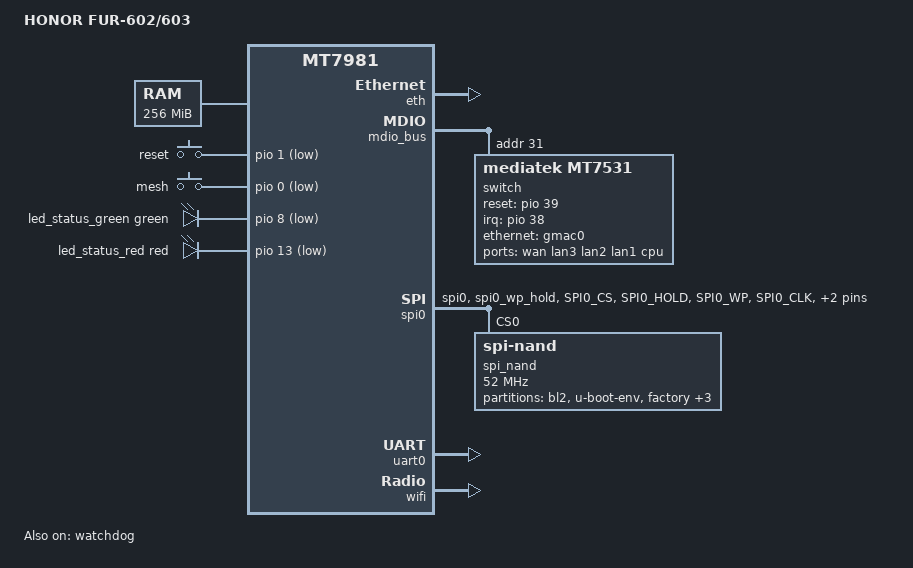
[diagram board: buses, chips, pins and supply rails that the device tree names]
// SPDX-License-Identifier: GPL-2.0-or-later OR MIT
//
// HONOR FUR-602 / FUR-603  (a.k.a. 荣耀 XU50 / XT50 / XC50, 联通定制版)
//   SoC   : MediaTek MT7981B (Filogic 820)
//   RAM   : 256 MiB DDR3
//   Flash : 128 MiB SPI-NAND, NMBM enabled
//   WLAN  : MT7981 2.4G 2x2 + MT7976CN 5G 2x2  = AX3000
//   ETH   : MT7531 switch, 1x 1G WAN + 3x 1G LAN, all behind gmac0
//
// ---------------------------------------------------------------------------
//  ImmortalWrt 25.12.2 variant (kernel 6.12)
// ---------------------------------------------------------------------------
//  Baseline: immortalwrt/immortalwrt @ 4fc16f2985a358bd43bb522e43f05395fcbd6ed5
//            (git tag v25.12.2, annotated + PGP-signed)
//            target/linux/mediatek, subtarget filogic, KERNEL_PATCHVER 6.12
//
//  This file is the 25.12 counterpart of mt7981b-honor-fur-602.dts (the 24.10 /
//  kernel-6.6 file).  Both live in the repository side by side so the 24.10
//  workflow keeps working untouched.  Inside a build tree only ONE of them is
//  ever installed, under the name given by DEVICE_DTS.
//
//  Differences from the 24.10 file -- ONLY these three, each forced by an
//  upstream change that was verified in the locked tree:
//
//   1. #include "mt7981b.dtsi" instead of "mt7981.dtsi".
//      Upstream Linux renamed the MT7981 SoC include when the SoC gained its
//      "b" suffix; kernel 6.12 ships arch/arm64/boot/dts/mediatek/mt7981b.dtsi
//      and no longer provides mt7981.dtsi.  Every MT7981 device in the 25.12
//      tree (h3c-magic-nx30-pro, nokia-ea0326gmp, jcg-q30-pro, cmcc-rax3000m,
//      mt7981-rfb, ...) includes "mt7981b.dtsi".  Without this change the DTB
//      does not compile at all.
//
//   2. <dt-bindings/pinctrl/mt65xx.h> is included explicitly.
//      MTK_DRIVE_8mA / MTK_PUPD_SET_R1R0_11 are used by the SPI pinconf below.
//      The 5.4-era immortalwrt mt7981.dtsi pulled that header in for us; the
//      mainline mt7981b.dtsi does not, so the 25.12 device trees that use these
//      macros include it themselves (cf. mt7981b-h3c-magic-nx30-pro.dts).
//
//   3. The memory node is written as memory@40000000 with an explicit
//      device_type = "memory", matching every MT7981 device tree in 25.12 and
//      avoiding a dtc unit-address warning.
//
//  Everything else -- partition layout, NMBM, SPI calibration, factory/MAC
//  offsets, DSA port mapping, GPIOs, LEDs, WiFi EEPROM -- is byte-for-byte the
//  already-verified 24.10 design and is intentionally NOT touched.
//
//  Boot chain: unchanged.  See the long comment in the 24.10 DTS and
//  MIGRATION-REPORT.md: the bl-mt798x U-Boot boots the FIT out of the UBI
//  volume named "kernel" (KERNEL_IN_UBI=1), and 25.12's platform.sh still
//  routes an unlisted board through the generic `nand_do_upgrade "$1"`
//  fallback with nand.sh's default CI_KERNPART=kernel / CI_ROOTPART=rootfs.
//  We therefore deliberately do NOT adopt the newer `linux,ubi` +
//  volname="fit" + root=/dev/fit0 layout used by h3c/nokia/jcg in 25.12:
//  that requires fitblk support in U-Boot which this board's U-Boot lacks.
//
// Hardware facts are taken from, and cross-checked against:
//   1. hanwckf/bl-mt798x @ 20241115  (tag, commit 15ad0ed949043bcb)
//        uboot-mtk-20230718-09eda825/arch/arm/dts/mt7981-honor_fur-602.dts
//          -> gpio 0/1 (keys), gpio 8/13 (LEDs), gpio 39 (switch reset),
//             gmac0 = 2500base-x / 2500 Mbps, "mediatek,switch = mt7531"
//        uboot-mtk-20230718-09eda825/configs/mt7981_honor_fur-602{,_multi_layout}_defconfig
//          -> 128 MiB SPI-NAND, NMBM
//        uboot-mtk-20230718-09eda825/board/mediatek/common/mtd_layout.c
//          -> mtd-layout expand(114m): bl2|u-boot-env|factory|Trace|fip|ubi(116736k)
//   2. hanwckf/immortalwrt-mt798x @ openwrt-21.02
//        target/linux/mediatek/files-5.4/arch/arm64/boot/dts/mediatek/mt7981-honor-fur-602.dts
//          -> authoritative port wiring, NMBM overlay, SPI calibration data,
//             same make/model string "HONOR FUR-602/603"
//        target/linux/mediatek/image/mt7981.mk (Device/honor_fur-602)
//          -> IMAGE_SIZE 116736k, KERNEL_IN_UBI, factory.bin + sysupgrade-tar
//   3. NMBM support in the 25.12 baseline, confirmed at the locked SHA:
//        target/linux/generic/files/drivers/mtd/nand/mtk_bmt.c
//          -> mtk_bmt_attach(): `else if (of_property_read_bool(np, "mediatek,nmbm"))
//             bmtd.ops = &mtk_bmt_nmbm_ops;`
//        target/linux/mediatek/filogic/config-6.12
//          -> CONFIG_MTD_NAND_MTK_BMT=y
//
// Requires the hanwckf/bl-mt798x "mt7981_honor_fur-602" U-Boot (20241115 or
// the 20230718 build it is derived from) with the expand(114m) mtd layout.
// The stock HONOR U-Boot is signature-locked and cannot boot this firmware.

/dts-v1/;
#include <dt-bindings/gpio/gpio.h>
#include <dt-bindings/input/input.h>
#include <dt-bindings/leds/common.h>
#include <dt-bindings/pinctrl/mt65xx.h>

#include "mt7981b.dtsi"

/ {
	model = "HONOR FUR-602/603";
	compatible = "honor,fur-602", "mediatek,mt7981";

	aliases {
		serial0 = &uart0;
		label-mac-device = &gmac0;
		led-boot = &led_status_red;
		led-failsafe = &led_status_red;
		led-running = &led_status_green;
		led-upgrade = &led_status_green;
	};

	chosen {
		stdout-path = "serial0:115200n8";
	};

	memory@40000000 {
		device_type = "memory";
		reg = <0 0x40000000 0 0x10000000>;
	};

	gpio-keys {
		compatible = "gpio-keys";

		button-reset {
			label = "reset";
			linux,code = <KEY_RESTART>;
			gpios = <&pio 1 GPIO_ACTIVE_LOW>;
		};

		button-mesh {
			label = "mesh";
			linux,code = <BTN_9>;
			linux,input-type = <EV_SW>;
			gpios = <&pio 0 GPIO_ACTIVE_LOW>;
		};
	};

	leds {
		compatible = "gpio-leds";

		led_status_green: green {
			function = LED_FUNCTION_STATUS;
			color = <LED_COLOR_ID_GREEN>;
			gpios = <&pio 8 GPIO_ACTIVE_LOW>;
		};

		led_status_red: red {
			function = LED_FUNCTION_STATUS;
			color = <LED_COLOR_ID_RED>;
			gpios = <&pio 13 GPIO_ACTIVE_LOW>;
		};
	};
};

&eth {
	status = "okay";

	gmac0: mac@0 {
		compatible = "mediatek,eth-mac";
		reg = <0>;
		phy-mode = "2500base-x";

		nvmem-cells = <&macaddr_factory_2a>;
		nvmem-cell-names = "mac-address";

		fixed-link {
			speed = <2500>;
			full-duplex;
			pause;
		};
	};
};

&mdio_bus {
	switch: switch@1f {
		compatible = "mediatek,mt7531";
		reg = <31>;
		reset-gpios = <&pio 39 GPIO_ACTIVE_HIGH>;
		interrupt-controller;
		#interrupt-cells = <1>;
		interrupt-parent = <&pio>;
		interrupts = <38 IRQ_TYPE_LEVEL_HIGH>;
	};
};

&spi0 {
	pinctrl-names = "default";
	pinctrl-0 = <&spi0_flash_pins>;
	status = "okay";

	spi_nand: spi_nand@0 {
		compatible = "spi-nand";
		#address-cells = <1>;
		#size-cells = <1>;
		reg = <0>;

		spi-max-frequency = <52000000>;
		spi-tx-bus-width = <4>;
		spi-rx-bus-width = <4>;

		/*
		 * NMBM: matches CONFIG_ENABLE_NAND_NMBM=y in the bl-mt798x
		 * mt7981_honor_fur-602 U-Boot, which maps the whole chip through
		 * its own bad-block table. The BMT area is carved out of the
		 * top of the device, so the partitions below are the *free*
		 * area and must stay in sync with the U-Boot mtd-layout
		 * "expand(114m)" mtdparts string.
		 *
		 * Verified still supported on the 25.12 baseline: mtk_bmt.c
		 * (target/linux/generic/files/drivers/mtd/nand/) handles
		 * "mediatek,nmbm" -> mtk_bmt_nmbm_ops, and filogic/config-6.12
		 * carries CONFIG_MTD_NAND_MTK_BMT=y.
		 */
		mediatek,nmbm;
		mediatek,bmt-max-ratio = <1>;
		mediatek,bmt-max-reserved-blocks = <64>;

		/*
		 * SPI calibration data, taken verbatim from the hanwckf
		 * reference DTS for this board. Without it the SPI-NAND
		 * controller may sample at the wrong delay on this PCB.
		 */
		spi-cal-enable;
		spi-cal-mode = "read-data";
		spi-cal-datalen = <7>;
		spi-cal-data = /bits/ 8 <0x53 0x50 0x49 0x4E 0x41 0x4E 0x44>; /* 'SPINAND' */
		spi-cal-addrlen = <5>;
		spi-cal-addr = /bits/ 32 <0x0 0x0 0x0 0x0 0x0>;

		partitions {
			compatible = "fixed-partitions";
			#address-cells = <1>;
			#size-cells = <1>;

			partition@0 {
				label = "bl2";
				reg = <0x0000000 0x0100000>;
				read-only;
			};

			partition@100000 {
				label = "u-boot-env";
				reg = <0x0100000 0x0080000>;
			};

			factory: partition@180000 {
				label = "factory";
				reg = <0x0180000 0x01e0000>;
				read-only;

				nvmem-layout {
					compatible = "fixed-layout";
					#address-cells = <1>;
					#size-cells = <1>;

					macaddr_factory_24: macaddr@24 {
						reg = <0x24 0x6>;
					};

					macaddr_factory_2a: macaddr@2a {
						reg = <0x2a 0x6>;
					};
				};
			};

			partition@360000 {
				label = "trace";
				reg = <0x0360000 0x0020000>;
				read-only;
			};

			partition@380000 {
				label = "fip";
				reg = <0x0380000 0x0200000>;
				read-only;
			};

			partition@580000 {
				label = "ubi";
				reg = <0x0580000 0x7200000>;
			};
		};
	};
};

&switch {
	ports {
		#address-cells = <1>;
		#size-cells = <0>;

		port@0 {
			reg = <0>;
			label = "wan";
			nvmem-cells = <&macaddr_factory_24>;
			nvmem-cell-names = "mac-address";
		};

		port@1 {
			reg = <1>;
			label = "lan3";
		};

		port@2 {
			reg = <2>;
			label = "lan2";
		};

		port@3 {
			reg = <3>;
			label = "lan1";
		};

		port@6 {
			reg = <6>;
			label = "cpu";
			ethernet = <&gmac0>;
			phy-mode = "2500base-x";

			fixed-link {
				speed = <2500>;
				full-duplex;
				pause;
			};
		};
	};
};

&pio {
	spi0_flash_pins: spi0-pins {
		mux {
			function = "spi";
			groups = "spi0", "spi0_wp_hold";
		};

		conf-pu {
			pins = "SPI0_CS", "SPI0_HOLD", "SPI0_WP";
			drive-strength = <MTK_DRIVE_8mA>;
			bias-pull-up = <MTK_PUPD_SET_R1R0_11>;
		};

		conf-pd {
			pins = "SPI0_CLK", "SPI0_MOSI", "SPI0_MISO";
			drive-strength = <MTK_DRIVE_8mA>;
			bias-pull-down = <MTK_PUPD_SET_R1R0_11>;
		};
	};
};

&uart0 {
	status = "okay";
};

&watchdog {
	status = "okay";
};

&wifi {
	status = "okay";

	/*
	 * WiFi EEPROM / calibration data lives at offset 0 of the "factory"
	 * partition. This is the de-facto MT7981 convention and matches the
	 * hanwckf reference board support (LEDE 5.4 used the same layout).
	 * `mediatek,mtd-eeprom` is still the supported binding on 6.12
	 * (cf. mt7981b-jcg-q30-pro.dts / mt7981b-h3c-magic-nx30-pro.dts in the
	 * 25.12 tree), so it is deliberately kept rather than converted to the
	 * nvmem-cells spelling used by some newer boards.
	 * TODO(verify-on-hardware): confirm the 2.4G/5G eeprom blobs are
	 * actually present at 0x0 by dumping "factory" on a real unit.
	 */
	mediatek,mtd-eeprom = <&factory 0x0>;
};
